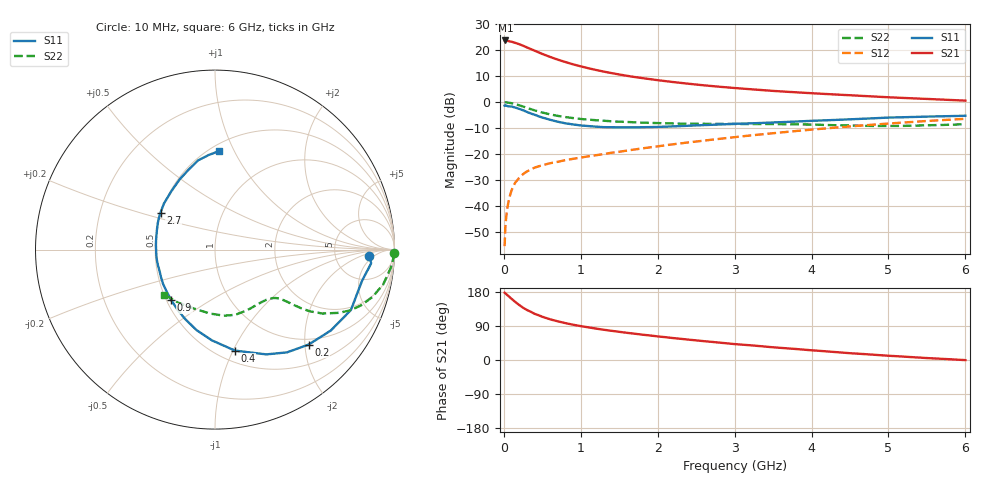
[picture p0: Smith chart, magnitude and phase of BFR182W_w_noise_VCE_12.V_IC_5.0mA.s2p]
! Infineon Technologies  Discrete & RF Semiconductors
! BFR182W
! VCE =  12. V,  IC =  5.0 mA
! Common Emitter S-Parameters:  Jan 2017
# GHz  S  MA  R  50
!  f  S11  S21  S12  S22
! GHz  MAG  ANG  MAG  ANG  MAG  ANG  MAG  ANG
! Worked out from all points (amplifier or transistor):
!   77 points, 10 MHz to 6 GHz, reference 50 ohm
!   highest |S21| = 23.7 dB at 20 MHz (marker M1)
!   |S21| within 3 dB of that: start of sweep to 325.3 MHz
!   unconditionally stable (mu >= 1): 1.383 GHz to 2.872 GHz
!   at 130 MHz: K = 0.18, MSG = 27.5 dB, |S12| = -32.0 dB
!   at 2.2 GHz: K = 1.05, MAG = 10.6 dB, |S12| = -16.2 dB
!   at 6 GHz: K = 0.83, MSG = 3.5 dB, |S12| = -6.4 dB
!   lowest NFmin = 0.88 dB at 450 MHz
!   S11 on the Smith chart (normalised r, x): 10 MHz: 12, -3; 200 MHz: 0.88, -2.08; 400 MHz: 0.61, -1.02; 900 MHz: 0.53, -0.35; 2.7 GHz: 0.50, +0.24; 6 GHz: 0.56, +0.87
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0.01  0.8592 -2.4  15.29 177.6  0.0017 81.5  0.9968 -1.2
0.02  0.8735 -5.0  15.39 175.9  0.004 90.3  0.9954 -2.6
0.05  0.8374 -12.0  15.07 170.5  0.01 81.3  0.9843 -6.0
0.1  0.8287 -24.0  14.57 161.4  0.02 78.7  0.9572 -11.7
0.15  0.7868 -35.0  13.84 152.9  0.0286 71.3  0.9165 -16.7
0.2  0.7431 -45.4  13.03 145.1  0.035 68.0  0.8713 -20.9
0.25  0.6991 -55.0  12.19 137.9  0.0414 63.1  0.824 -24.3
0.3  0.6501 -63.9  11.31 132.0  0.0465 60.3  0.7758 -27.0
0.4  0.5737 -78.8  9.788 121.9  0.0551 56.4  0.6959 -30.8
0.5  0.5066 -91.8  8.469 114.1  0.0613 54.4  0.6322 -33.0
0.6  0.4595 -103.1  7.441 107.5  0.0669 53.6  0.5831 -34.2
0.7  0.4207 -113.4  6.588 102.1  0.0712 53.6  0.5456 -34.9
0.9  0.3726 -130.9  5.343 93.1  0.0813 54.3  0.4947 -35.9
1.1  0.3471 -146.3  4.496 86.1  0.0909 55.9  0.4621 -36.8
1.3  0.331 -158.9  3.87 79.8  0.1006 57.0  0.4396 -38.0
1.6  0.3285 -174.9  3.216 71.7  0.1171 59.2  0.4166 -40.7
2.1  0.3378 164.3  2.543 60.2  0.1481 60.9  0.3928 -47.6
2.7  0.3669 145.8  2.045 47.9  0.1894 60.8  0.3828 -58.1
3.1  0.387 135.4  1.826 40.5  0.2203 59.7  0.3803 -65.3
4.1  0.4435 114.9  1.46 24.2  0.3054 54.1  0.3674 -84.7
5.1  0.5096 99.4  1.224 10.1  0.3973 45.6  0.349 -112.6
6  0.5485 87.8  1.072 -0.3  0.4787 36.5  0.3778 -138.5
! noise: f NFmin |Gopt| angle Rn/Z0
0.45  0.88  0.26  32  0.17
0.9  0.98  0.21  59  0.16
1.9  1.55  0.19  162  0.13
2.4  1.83  0.21  176  0.17
